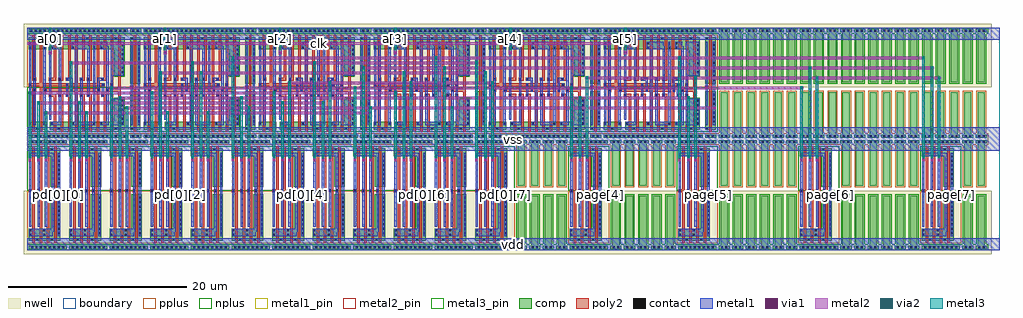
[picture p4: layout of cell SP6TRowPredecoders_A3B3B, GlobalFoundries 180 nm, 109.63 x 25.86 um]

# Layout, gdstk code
import gdstk
lib = gdstk.Library(unit=1e-6, precision=1e-09)
def R(c, l, rs):  # rectangles x0, y0, x1, y1
    for r in rs: c.add(gdstk.rectangle(r[:2], r[2:], *l))
def A(c, l, x, y, w, h, nx, ny, dx, dy):  # array of equal rectangles
    R(c, l, [(x+i*dx, y+j*dy, x+i*dx+w, y+j*dy+h) for i in range(nx) for j in range(ny)])
def P(c, l, *ps):  # polygons
    for p in ps: c.add(gdstk.Polygon(p, *l))
boundary = (0, 0)
nwell = (21, 0)
comp = (22, 0)
poly2 = (30, 0)
pplus = (31, 0)
nplus = (32, 0)
contact = (33, 0)
metal1 = (34, 0)
metal1_pin = (34, 10)
via1 = (35, 0)
metal2 = (36, 0)
metal2_pin = (36, 10)
via2 = (38, 0)
metal3 = (42, 0)
metal3_pin = (42, 10)

dec_dff_x1 = lib.new_cell('Dec_dff_x1')
R(dec_dff_x1, nwell, [(-0.43,5.8,11.83,12.93)])
R(dec_dff_x1, comp, [(0.14,0.14,11.26,0.5), (0.14,1.045,2.1,1.925), (0.14,10.055,2.1,11.455), (0.14,12,11.26,12.36)])
P(dec_dff_x1, comp, [(9.76,6.98),(9.76,10.055),(2.54,10.055),(2.54,11.455),(10.92,11.455),(10.92,6.98)],
  [(2.54,1.045),(2.54,1.925),(9.76,1.925),(9.76,4.62),(10.92,4.62),(10.92,1.045)])
P(dec_dff_x1, poly2, [(8.58,0.825),(8.58,4.72),(8.32,4.72),(8.32,5.08),(8.86,5.08),(8.86,0.825)],
  [(4.58,0.825),(4.58,4.72),(4.3,4.72),(4.3,5.08),(4.86,5.08),(4.86,0.825)],
  [(1.38,0.825),(1.38,5.92),(0.14,5.92),(0.14,6.28),(1.38,6.28),(1.38,11.675),(1.66,11.675),(1.66,6.28),(5.38,6.28),(5.38,11.675),(5.66,11.675),(5.66,6.28),(7.78,6.28),(7.78,11.675),(8.06,11.675),(8.06,6.28),(8.68,6.28),(8.68,5.92),(1.66,5.92),(1.66,0.825)],
  [(0.58,6.52),(0.58,11.675),(0.86,11.675),(0.86,6.88),(0.99,6.88),(0.99,6.52)],
  [(0.58,0.825),(0.58,5.68),(0.99,5.68),(0.99,5.32),(0.86,5.32),(0.86,0.825)],
  [(5.38,0.825),(5.38,5.32),(1.9,5.32),(1.9,5.68),(8.19,5.68),(8.19,5.32),(8.06,5.32),(8.06,0.825),(7.78,0.825),(7.78,5.32),(5.66,5.32),(5.66,0.825)],
  [(8.3,6.52),(8.3,6.88),(8.58,6.88),(8.58,11.675),(8.86,11.675),(8.86,6.52)],
  [(4.3,6.52),(4.3,6.88),(4.58,6.88),(4.58,11.675),(4.86,11.675),(4.86,6.52)],
  [(3.5,6.52),(3.5,6.88),(3.78,6.88),(3.78,11.675),(4.06,11.675),(4.06,6.52)],
  [(3.78,0.825),(3.78,4.72),(3.5,4.72),(3.5,5.08),(4.06,5.08),(4.06,0.825)],
  [(2.39,6.52),(2.39,6.88),(2.98,6.88),(2.98,11.675),(3.26,11.675),(3.26,6.52)],
  [(2.98,0.825),(2.98,4.72),(2.39,4.72),(2.39,5.08),(3.26,5.08),(3.26,0.825)],
  [(6.7,6.52),(6.7,6.88),(6.98,6.88),(6.98,11.675),(7.26,11.675),(7.26,6.52)],
  [(6.98,0.825),(6.98,4.72),(6.7,4.72),(6.7,5.08),(7.26,5.08),(7.26,0.825)],
  [(5.9,6.52),(5.9,6.88),(6.18,6.88),(6.18,11.675),(6.46,11.675),(6.46,6.52)],
  [(6.18,0.825),(6.18,4.72),(5.9,4.72),(5.9,5.08),(6.46,5.08),(6.46,0.825)],
  [(10.2,0.825),(10.2,5.32),(8.81,5.32),(8.81,5.68),(10.2,5.68),(10.2,11.675),(10.48,11.675),(10.48,0.825)],
  [(9.3,5.92),(9.3,6.28),(9.38,6.28),(9.38,11.675),(9.66,11.675),(9.66,5.92)],
  [(9.38,0.825),(9.38,4.72),(9.3,4.72),(9.3,5.08),(9.66,5.08),(9.66,0.825)])
R(dec_dff_x1, pplus, [(-0.02,-0.02,11.42,0.66), (-0.02,5.8,11.42,11.685)])
R(dec_dff_x1, nplus, [(-0.02,0.815,11.42,5.8), (-0.02,11.84,11.42,12.52)])
A(dec_dff_x1, contact, 0.34, 0.21, 0.22, 0.22, 22, 2, 0.5, 11.86)
A(dec_dff_x1, contact, 2.61, 1.63, 0.22, 0.22, 3, 2, 2.4, 8.51)
A(dec_dff_x1, contact, 10.63, 1.675, 0.22, 0.22, 1, 6, 0, 0.5)
A(dec_dff_x1, contact, 10.63, 7.405, 0.22, 0.22, 1, 7, 0, 0.5)
A(dec_dff_x1, contact, 2.61, 10.64, 0.22, 0.22, 3, 1, 2.4, 0)
R(dec_dff_x1, contact, [(1.01,1.115,1.23,1.335), (3.41,1.115,3.63,1.335), (6.61,1.115,6.83,1.335), (9.83,1.115,10.05,1.335), (0.21,1.63,0.43,1.85), (1.81,1.63,2.03,1.85), (8.21,1.63,8.43,1.85), (2.46,4.79,2.68,5.01), (3.57,4.79,3.79,5.01), (4.37,4.79,4.59,5.01), (5.97,4.79,6.19,5.01), (6.77,4.79,6.99,5.01), (8.39,4.79,8.61,5.01), (9.37,4.79,9.59,5.01), (0.7,5.39,0.92,5.61), (1.97,5.39,2.19,5.61), (4.86,5.39,5.08,5.61), (7.9,5.39,8.12,5.61), (8.88,5.39,9.1,5.61), (0.21,5.99,0.43,6.21), (4.37,5.99,4.59,6.21), (8.39,5.99,8.61,6.21), (9.37,5.99,9.59,6.21), (0.7,6.59,0.92,6.81), (2.46,6.59,2.68,6.81), (3.57,6.59,3.79,6.81), (4.37,6.59,4.59,6.81), (5.97,6.59,6.19,6.81), (6.77,6.59,6.99,6.81), (8.37,6.59,8.59,6.81), (0.21,10.14,0.43,10.36), (1.81,10.14,2.03,10.36), (8.21,10.14,8.43,10.36), (0.21,10.64,0.43,10.86), (1.81,10.64,2.03,10.86), (8.21,10.64,8.43,10.86), (1.01,11.165,1.23,11.385), (3.41,11.165,3.63,11.385), (6.61,11.165,6.83,11.385), (9.83,11.165,10.05,11.385)])
R(dec_dff_x1, metal1, [(0,0,11.4,1.34), (0.68,1.57,0.94,10.93), (2.44,2.14,2.7,9.85), (4.35,4.73,4.61,6.27), (8.37,4.73,8.63,6.27), (0,11.16,11.4,12.5)])
P(dec_dff_x1, metal1, [(0.19,1.57),(0.19,10.42),(0.205,10.42),(0.205,10.93),(0.435,10.93),(0.435,10.42),(0.45,10.42),(0.45,1.57)],
  [(7.88,5.33),(7.88,6.87),(8.595,6.87),(8.595,6.53),(8.14,6.53),(8.14,5.33)],
  [(4.84,5.33),(4.84,6.53),(4.365,6.53),(4.365,6.87),(5.1,6.87),(5.1,5.33)],
  [(1.79,1.57),(1.79,10.42),(1.805,10.42),(1.805,10.93),(2.035,10.93),(2.035,10.42),(2.05,10.42),(2.05,5.67),(2.195,5.67),(2.195,5.33),(2.05,5.33),(2.05,1.57)],
  [(2.605,1.57),(2.605,1.91),(3.55,1.91),(3.55,10.08),(2.605,10.08),(2.605,10.93),(3.68,10.93),(3.68,10.42),(3.81,10.42),(3.81,1.57)],
  [(5.005,1.57),(5.005,1.91),(5.33,1.91),(5.33,10.08),(5.005,10.08),(5.005,10.93),(6.88,10.93),(6.88,10.42),(7.01,10.42),(7.01,4.73),(6.75,4.73),(6.75,10.08),(5.59,10.08),(5.59,1.57)],
  [(5.95,1.57),(5.95,6.87),(6.21,6.87),(6.21,1.91),(7.39,1.91),(7.39,10.42),(7.405,10.42),(7.405,10.93),(7.635,10.93),(7.635,10.42),(7.65,10.42),(7.65,1.57)],
  [(8.205,1.57),(8.205,1.91),(8.86,1.91),(8.86,10.08),(8.205,10.08),(8.205,10.93),(8.99,10.93),(8.99,10.42),(9.12,10.42),(9.12,1.57)],
  [(9.35,1.57),(9.35,10.93),(10.855,10.93),(10.855,7.1),(9.61,7.1),(9.61,4.5),(10.855,4.5),(10.855,1.57)])
R(dec_dff_x1, metal1_pin, [(0,0,11.4,1.34), (0.68,1.57,0.94,10.93), (9.35,1.57,9.61,10.93), (2.44,2.14,2.7,9.85), (0,11.16,11.4,12.5)])
dec_dff_x1.add(gdstk.Label('vdd', (5.7,11.83), layer=34, texttype=10))
dec_dff_x1.add(gdstk.Label('vss', (5.7,0.67), layer=34, texttype=10))
dec_dff_x1.add(gdstk.Label('clk', (0.81,6.25), layer=34, texttype=10))
dec_dff_x1.add(gdstk.Label('i', (2.57,5.995), layer=34, texttype=10))
dec_dff_x1.add(gdstk.Label('q', (9.48,6.25), layer=34, texttype=10))

dec_inv_x1 = lib.new_cell('Dec_inv_x1')
R(dec_inv_x1, nwell, [(-0.43,5.8,1.95,12.93)])
R(dec_inv_x1, comp, [(0.14,0.14,1.38,0.5), (0.14,1.045,1.3,5.37), (0.14,6.23,1.3,11.455), (0.14,12,1.38,12.36)])
P(dec_inv_x1, poly2, [(0.58,0.825),(0.58,5.62),(0.14,5.62),(0.14,5.98),(0.58,5.98),(0.58,11.675),(0.86,11.675),(0.86,0.825)])
R(dec_inv_x1, pplus, [(-0.02,-0.02,1.54,0.66), (-0.02,5.8,1.54,11.685)])
R(dec_inv_x1, nplus, [(-0.02,0.815,1.54,5.8), (-0.02,11.84,1.54,12.52)])
A(dec_inv_x1, contact, 1.01, 1.855, 0.22, 0.22, 1, 7, 0, 0.5)
A(dec_inv_x1, contact, 1.01, 6.475, 0.22, 0.22, 1, 9, 0, 0.5)
R(dec_inv_x1, contact, [(0.4,0.21,0.62,0.43), (0.9,0.21,1.12,0.43), (0.21,1.115,0.43,1.335), (0.21,5.69,0.43,5.91), (0.21,11.165,0.43,11.385), (0.4,12.07,0.62,12.29), (0.9,12.07,1.12,12.29)])
R(dec_inv_x1, metal1, [(0,0,1.52,1.34), (0.19,1.57,0.45,10.93), (0.99,1.57,1.25,10.93), (0,11.16,1.52,12.5)])
R(dec_inv_x1, metal1_pin, [(0,0,1.52,1.34), (0.19,1.57,0.45,10.93), (0.99,1.57,1.25,10.93), (0,11.16,1.52,12.5)])
dec_inv_x1.add(gdstk.Label('vss', (0.76,0.67), layer=34, texttype=10))
dec_inv_x1.add(gdstk.Label('vdd', (0.76,11.83), layer=34, texttype=10))
dec_inv_x1.add(gdstk.Label('nq', (1.12,6.25), layer=34, texttype=10))
dec_inv_x1.add(gdstk.Label('i', (0.32,6.25), layer=34, texttype=10))

dec_tie_diff_w2 = lib.new_cell('Dec_tie_diff_w2')
R(dec_tie_diff_w2, nwell, [(-0.43,5.8,1.95,12.93)])
P(dec_tie_diff_w2, comp, [(0.36,6.36),(0.36,12),(0.14,12),(0.14,12.36),(1.38,12.36),(1.38,12),(1.16,12),(1.16,6.36)],
  [(0.14,0.14),(0.14,0.5),(0.36,0.5),(0.36,5.24),(1.16,5.24),(1.16,0.5),(1.38,0.5),(1.38,0.14)])
P(dec_tie_diff_w2, pplus, [(-0.02,-0.02),(-0.02,0.66),(0.2,0.66),(0.2,5.4),(1.32,5.4),(1.32,0.66),(1.54,0.66),(1.54,-0.02)])
P(dec_tie_diff_w2, nplus, [(0.2,6.2),(0.2,11.84),(-0.02,11.84),(-0.02,12.52),(1.54,12.52),(1.54,11.84),(1.32,11.84),(1.32,6.2)])
R(dec_tie_diff_w2, contact, [(0.4,0.21,0.62,0.43), (0.9,0.21,1.12,0.43), (0.4,12.07,0.62,12.29), (0.9,12.07,1.12,12.29)])
R(dec_tie_diff_w2, metal1, [(0,0,1.52,1.34), (0,11.16,1.52,12.5)])
R(dec_tie_diff_w2, metal1_pin, [(0,0,1.52,1.34), (0,11.16,1.52,12.5)])
dec_tie_diff_w2.add(gdstk.Label('vdd', (0.76,11.83), layer=34, texttype=10))
dec_tie_diff_w2.add(gdstk.Label('vss', (0.76,0.67), layer=34, texttype=10))

dec_and3_x1 = lib.new_cell('Dec_and3_x1')
R(dec_and3_x1, nwell, [(-0.43,5.8,4.99,12.93)])
R(dec_and3_x1, comp, [(0.14,0.14,4.42,0.5), (0.14,12,4.42,12.36)])
P(dec_and3_x1, comp, [(2.56,6.23),(2.56,10.055),(0.14,10.055),(0.14,11.455),(3.72,11.455),(3.72,6.23)],
  [(0.14,1.045),(0.14,1.925),(2.56,1.925),(2.56,5.37),(3.72,5.37),(3.72,1.045)])
P(dec_and3_x1, poly2, [(3,0.825),(3,5.62),(2.7,5.62),(2.7,5.98),(3,5.98),(3,11.675),(3.28,11.675),(3.28,0.825)],
  [(0.58,0.825),(0.58,5.62),(0.14,5.62),(0.14,5.98),(0.58,5.98),(0.58,11.675),(0.86,11.675),(0.86,0.825)],
  [(1.38,0.825),(1.38,5.62),(1.1,5.62),(1.1,5.98),(1.38,5.98),(1.38,11.675),(1.66,11.675),(1.66,0.825)],
  [(2.18,0.825),(2.18,5.62),(1.9,5.62),(1.9,5.98),(2.18,5.98),(2.18,11.675),(2.46,11.675),(2.46,0.825)])
R(dec_and3_x1, pplus, [(-0.02,-0.02,4.58,0.66), (-0.02,5.8,4.58,11.685)])
R(dec_and3_x1, nplus, [(-0.02,0.815,4.58,5.8), (-0.02,11.84,4.58,12.52)])
A(dec_and3_x1, contact, 0.42, 0.21, 0.22, 0.22, 8, 2, 0.5, 11.86)
A(dec_and3_x1, contact, 3.43, 1.855, 0.22, 0.22, 1, 7, 0, 0.5)
A(dec_and3_x1, contact, 1.17, 5.69, 0.22, 0.22, 3, 1, 0.8, 0)
A(dec_and3_x1, contact, 3.43, 6.475, 0.22, 0.22, 1, 9, 0, 0.5)
R(dec_and3_x1, contact, [(2.63,1.115,2.85,1.335), (0.21,1.63,0.43,1.85), (0.21,5.69,0.43,5.91), (0.21,10.14,0.43,10.36), (1.81,10.14,2.03,10.36), (0.21,10.64,0.43,10.86), (1.81,10.64,2.03,10.86), (1.01,11.165,1.23,11.385), (2.63,11.165,2.85,11.385)])
R(dec_and3_x1, metal1, [(0,0,4.56,1.34), (3.41,1.57,3.67,10.93), (0.19,2.14,0.45,9.85), (1.15,2.14,1.41,9.85), (1.95,2.14,2.21,9.85), (0,11.16,4.56,12.5)])
P(dec_and3_x1, metal1, [(0.205,1.57),(0.205,1.91),(2.75,1.91),(2.75,10.08),(0.205,10.08),(0.205,10.93),(2.88,10.93),(2.88,10.42),(3.01,10.42),(3.01,1.57)])
R(dec_and3_x1, metal1_pin, [(0,0,4.56,1.34), (3.41,1.57,3.67,10.93), (0.19,2.14,0.45,9.85), (1.15,2.14,1.41,9.85), (1.95,2.14,2.21,9.85), (0,11.16,4.56,12.5)])
dec_and3_x1.add(gdstk.Label('vdd', (2.28,11.83), layer=34, texttype=10))
dec_and3_x1.add(gdstk.Label('vss', (2.28,0.67), layer=34, texttype=10))
dec_and3_x1.add(gdstk.Label('i0', (0.32,5.995), layer=34, texttype=10))
dec_and3_x1.add(gdstk.Label('i1', (1.28,5.995), layer=34, texttype=10))
dec_and3_x1.add(gdstk.Label('i2', (2.08,5.995), layer=34, texttype=10))
dec_and3_x1.add(gdstk.Label('q', (3.54,6.25), layer=34, texttype=10))

sp6trowpredecoders_a3b3b = lib.new_cell('SP6TRowPredecoders_A3B3B')
R(sp6trowpredecoders_a3b3b, boundary, [(0,0,109.2,25)])
A(sp6trowpredecoders_a3b3b, metal1, 3.41, 1.57, 0.26, 9.36, 12, 1, 4.56, 0)
A(sp6trowpredecoders_a3b3b, metal1, 76.37, 1.57, 0.26, 9.36, 3, 1, 13.68, 0)
A(sp6trowpredecoders_a3b3b, metal1, 2.44, 21.97, 0.26, 0.38, 6, 1, 12.92, 0)
A(sp6trowpredecoders_a3b3b, metal1, 0.68, 23.05, 0.26, 0.38, 6, 1, 12.92, 0)
R(sp6trowpredecoders_a3b3b, metal1, [(0,0,109.2,1.34), (64.21,1.57,64.47,10.93), (0.19,9.98,0.45,10.36), (1.15,9.98,1.41,10.36), (1.95,9.98,2.21,10.36), (4.75,9.98,5.01,10.36), (5.71,9.98,5.97,10.36), (6.51,9.98,6.77,10.36), (9.31,9.98,9.57,10.36), (10.27,9.98,10.53,10.36), (11.07,9.98,11.33,10.36), (13.87,9.98,14.13,10.36), (14.83,9.98,15.09,10.36), (15.63,9.98,15.89,10.36), (18.43,9.98,18.69,10.36), (19.39,9.98,19.65,10.36), (20.19,9.98,20.45,10.36), (22.99,9.98,23.25,10.36), (23.95,9.98,24.21,10.36), (24.75,9.98,25.01,10.36), (27.55,9.98,27.81,10.36), (28.51,9.98,28.77,10.36), (29.31,9.98,29.57,10.36), (32.11,9.98,32.37,10.36), (33.07,9.98,33.33,10.36), (33.87,9.98,34.13,10.36), (36.67,9.98,36.93,10.36), (37.63,9.98,37.89,10.36), (38.43,9.98,38.69,10.36), (41.23,9.98,41.49,10.36), (42.19,9.98,42.45,10.36), (42.99,9.98,43.25,10.36), (45.79,9.98,46.05,10.36), (46.75,9.98,47.01,10.36), (47.55,9.98,47.81,10.36), (50.35,9.98,50.61,10.36), (51.31,9.98,51.57,10.36), (52.11,9.98,52.37,10.36), (60.99,9.98,61.25,10.36), (61.95,9.98,62.21,10.36), (62.75,9.98,63.01,10.36), (73.15,9.98,73.41,10.36), (74.11,9.98,74.37,10.36), (74.91,9.98,75.17,10.36), (86.83,9.98,87.09,10.36), (87.79,9.98,88.05,10.36), (88.59,9.98,88.85,10.36), (100.51,9.98,100.77,10.36), (101.47,9.98,101.73,10.36), (102.27,9.98,102.53,10.36), (0,11.16,109.2,13.84), (38.23,15.25,38.49,15.63), (76.99,15.81,77.25,16.19), (25.31,16.37,25.57,16.75), (64.07,16.93,64.33,17.31), (12.39,17.49,12.65,17.87), (51.15,18.05,51.41,18.43), (35.19,18.61,35.45,18.99), (37.43,18.61,37.69,18.99), (73.95,19.17,74.21,19.55), (76.19,19.17,76.45,19.55), (22.27,19.73,22.53,20.11), (24.51,19.73,24.77,20.11), (61.03,20.29,61.29,20.67), (63.27,20.29,63.53,20.67), (9.35,20.85,9.61,21.23), (11.59,20.85,11.85,21.23), (48.11,21.41,48.37,21.79), (50.35,21.41,50.61,21.79), (0,23.66,109.2,25)])
A(sp6trowpredecoders_a3b3b, metal1_pin, 3.41, 1.57, 0.26, 9.36, 12, 1, 4.56, 0)
A(sp6trowpredecoders_a3b3b, metal1_pin, 76.37, 1.57, 0.26, 9.36, 3, 1, 13.68, 0)
R(sp6trowpredecoders_a3b3b, metal1_pin, [(0,0,109.2,1.34), (64.21,1.57,64.47,10.93), (0,11.16,109.2,13.84), (0,23.66,109.2,25)])
A(sp6trowpredecoders_a3b3b, via1, 2.44, 22.03, 0.26, 0.26, 6, 1, 12.92, 0)
A(sp6trowpredecoders_a3b3b, via1, 0.68, 23.11, 0.26, 0.26, 6, 1, 12.92, 0)
R(sp6trowpredecoders_a3b3b, via1, [(0.19,10.04,0.45,10.3), (1.15,10.04,1.41,10.3), (1.95,10.04,2.21,10.3), (4.75,10.04,5.01,10.3), (5.71,10.04,5.97,10.3), (6.51,10.04,6.77,10.3), (9.31,10.04,9.57,10.3), (10.27,10.04,10.53,10.3), (11.07,10.04,11.33,10.3), (13.87,10.04,14.13,10.3), (14.83,10.04,15.09,10.3), (15.63,10.04,15.89,10.3), (18.43,10.04,18.69,10.3), (19.39,10.04,19.65,10.3), (20.19,10.04,20.45,10.3), (22.99,10.04,23.25,10.3), (23.95,10.04,24.21,10.3), (24.75,10.04,25.01,10.3), (27.55,10.04,27.81,10.3), (28.51,10.04,28.77,10.3), (29.31,10.04,29.57,10.3), (32.11,10.04,32.37,10.3), (33.07,10.04,33.33,10.3), (33.87,10.04,34.13,10.3), (36.67,10.04,36.93,10.3), (37.63,10.04,37.89,10.3), (38.43,10.04,38.69,10.3), (41.23,10.04,41.49,10.3), (42.19,10.04,42.45,10.3), (42.99,10.04,43.25,10.3), (45.79,10.04,46.05,10.3), (46.75,10.04,47.01,10.3), (47.55,10.04,47.81,10.3), (50.35,10.04,50.61,10.3), (51.31,10.04,51.57,10.3), (52.11,10.04,52.37,10.3), (60.99,10.04,61.25,10.3), (61.95,10.04,62.21,10.3), (62.75,10.04,63.01,10.3), (73.15,10.04,73.41,10.3), (74.11,10.04,74.37,10.3), (74.91,10.04,75.17,10.3), (86.83,10.04,87.09,10.3), (87.79,10.04,88.05,10.3), (88.59,10.04,88.85,10.3), (100.51,10.04,100.77,10.3), (101.47,10.04,101.73,10.3), (102.27,10.04,102.53,10.3), (38.23,15.31,38.49,15.57), (76.99,15.87,77.25,16.13), (25.31,16.43,25.57,16.69), (64.07,16.99,64.33,17.25), (12.39,17.55,12.65,17.81), (51.15,18.11,51.41,18.37), (35.19,18.67,35.45,18.93), (37.43,18.67,37.69,18.93), (73.95,19.23,74.21,19.49), (76.19,19.23,76.45,19.49), (22.27,19.79,22.53,20.05), (24.51,19.79,24.77,20.05), (61.03,20.35,61.29,20.61), (63.27,20.35,63.53,20.61), (9.35,20.91,9.61,21.17), (11.59,20.91,11.85,21.17), (48.11,21.47,48.37,21.73), (50.35,21.47,50.61,21.73)])
A(sp6trowpredecoders_a3b3b, metal2, 2.38, 22.02, 0.38, 0.8, 6, 1, 12.92, 0)
R(sp6trowpredecoders_a3b3b, metal2, [(0.18,9.98,0.46,10.74), (1.14,9.98,1.42,10.74), (1.94,9.98,2.22,10.74), (4.74,9.98,5.02,10.74), (5.7,9.98,5.98,10.74), (6.5,9.98,6.78,10.74), (9.3,9.98,9.58,10.74), (10.26,9.98,10.54,10.74), (11.06,9.98,11.34,10.74), (13.86,9.98,14.14,10.74), (14.82,9.98,15.1,10.74), (15.62,9.98,15.9,10.74), (18.42,9.98,18.7,10.74), (19.38,9.98,19.66,10.74), (20.18,9.98,20.46,10.74), (22.98,9.98,23.26,10.74), (23.94,9.98,24.22,10.74), (24.74,9.98,25.02,10.74), (27.54,9.98,27.82,10.74), (28.5,9.98,28.78,10.74), (29.3,9.98,29.58,10.74), (32.1,9.98,32.38,10.74), (33.06,9.98,33.34,10.74), (33.86,9.98,34.14,10.74), (36.66,9.98,36.94,10.74), (37.62,9.98,37.9,10.74), (38.42,9.98,38.7,10.74), (41.22,9.98,41.5,10.74), (42.18,9.98,42.46,10.74), (42.98,9.98,43.26,10.74), (45.78,9.98,46.06,10.74), (46.74,9.98,47.02,10.74), (47.54,9.98,47.82,10.74), (50.34,9.98,50.62,10.74), (51.3,9.98,51.58,10.74), (52.1,9.98,52.38,10.74), (60.98,9.98,61.26,10.74), (61.94,9.98,62.22,10.74), (62.74,9.98,63.02,10.74), (73.14,9.98,73.42,10.74), (74.1,9.98,74.38,10.74), (74.9,9.98,75.18,10.74), (86.82,9.98,87.1,10.74), (87.78,9.98,88.06,10.74), (88.58,9.98,88.86,10.74), (100.5,9.98,100.78,10.74), (101.46,9.98,101.74,10.74), (102.26,9.98,102.54,10.74), (1.89,15.3,38.55,15.58), (11.01,15.86,77.31,16.14), (1.09,16.42,33.39,16.7), (10.21,16.98,74.43,17.26), (0.13,17.54,41.55,17.82), (9.25,18.1,87.15,18.38), (29.25,18.66,52.43,18.94), (62.69,19.22,102.59,19.5), (14.77,19.78,51.63,20.06), (37.57,20.34,101.79,20.62), (4.69,20.9,50.67,21.18), (22.93,21.46,100.83,21.74), (0,23.1,65.6,23.38)])
R(sp6trowpredecoders_a3b3b, metal2_pin, [(0,23.1,65.6,23.38)])
A(sp6trowpredecoders_a3b3b, via2, 11.07, 15.87, 0.26, 0.26, 3, 1, 13.68, 0)
A(sp6trowpredecoders_a3b3b, via2, 0.19, 17.55, 0.26, 0.26, 4, 1, 13.68, 0)
A(sp6trowpredecoders_a3b3b, via2, 33.87, 18.67, 0.26, 0.26, 3, 1, 9.12, 0)
A(sp6trowpredecoders_a3b3b, via2, 74.91, 19.23, 0.26, 0.26, 3, 1, 13.68, 0)
A(sp6trowpredecoders_a3b3b, via2, 4.75, 20.91, 0.26, 0.26, 3, 1, 13.68, 0)
A(sp6trowpredecoders_a3b3b, via2, 45.79, 21.47, 0.26, 0.26, 3, 1, 27.36, 0)
A(sp6trowpredecoders_a3b3b, via2, 2.44, 22.55, 0.26, 0.26, 6, 1, 12.92, 0)
R(sp6trowpredecoders_a3b3b, via2, [(0.19,10.42,0.45,10.68), (1.15,10.42,1.41,10.68), (1.95,10.42,2.21,10.68), (4.75,10.42,5.01,10.68), (5.71,10.42,5.97,10.68), (6.51,10.42,6.77,10.68), (9.31,10.42,9.57,10.68), (10.27,10.42,10.53,10.68), (11.07,10.42,11.33,10.68), (13.87,10.42,14.13,10.68), (14.83,10.42,15.09,10.68), (15.63,10.42,15.89,10.68), (18.43,10.42,18.69,10.68), (19.39,10.42,19.65,10.68), (20.19,10.42,20.45,10.68), (22.99,10.42,23.25,10.68), (23.95,10.42,24.21,10.68), (24.75,10.42,25.01,10.68), (27.55,10.42,27.81,10.68), (28.51,10.42,28.77,10.68), (29.31,10.42,29.57,10.68), (32.11,10.42,32.37,10.68), (33.07,10.42,33.33,10.68), (33.87,10.42,34.13,10.68), (36.67,10.42,36.93,10.68), (37.63,10.42,37.89,10.68), (38.43,10.42,38.69,10.68), (41.23,10.42,41.49,10.68), (42.19,10.42,42.45,10.68), (42.99,10.42,43.25,10.68), (45.79,10.42,46.05,10.68), (46.75,10.42,47.01,10.68), (47.55,10.42,47.81,10.68), (50.35,10.42,50.61,10.68), (51.31,10.42,51.57,10.68), (52.11,10.42,52.37,10.68), (60.99,10.42,61.25,10.68), (61.95,10.42,62.21,10.68), (62.75,10.42,63.01,10.68), (73.15,10.42,73.41,10.68), (74.11,10.42,74.37,10.68), (74.91,10.42,75.17,10.68), (86.83,10.42,87.09,10.68), (87.79,10.42,88.05,10.68), (88.59,10.42,88.85,10.68), (100.51,10.42,100.77,10.68), (101.47,10.42,101.73,10.68), (102.27,10.42,102.53,10.68), (1.95,15.31,2.21,15.57), (6.51,15.31,6.77,15.57), (15.63,15.31,15.89,15.57), (20.19,15.31,20.45,15.57), (47.55,15.87,47.81,16.13), (1.15,16.43,1.41,16.69), (5.71,16.43,5.97,16.69), (28.51,16.43,28.77,16.69), (33.07,16.43,33.33,16.69), (10.27,16.99,10.53,17.25), (23.95,16.99,24.21,17.25), (61.95,16.99,62.21,17.25), (74.11,16.99,74.37,17.25), (9.31,18.11,9.57,18.37), (36.67,18.11,36.93,18.37), (60.99,18.11,61.25,18.37), (86.83,18.11,87.09,18.37), (29.31,18.67,29.57,18.93), (62.75,19.23,63.01,19.49), (14.83,19.79,15.09,20.05), (19.39,19.79,19.65,20.05), (42.19,19.79,42.45,20.05), (51.31,19.79,51.57,20.05), (37.63,20.35,37.89,20.61), (46.75,20.35,47.01,20.61), (87.79,20.35,88.05,20.61), (101.47,20.35,101.73,20.61), (50.35,20.91,50.61,21.17), (22.99,21.47,23.25,21.73)])
A(sp6trowpredecoders_a3b3b, metal3, 0.18, 10.36, 0.28, 7.51, 4, 1, 13.68, 0)
A(sp6trowpredecoders_a3b3b, metal3, 4.74, 10.36, 0.28, 10.87, 3, 1, 13.68, 0)
A(sp6trowpredecoders_a3b3b, metal3, 11.06, 10.36, 0.28, 5.83, 3, 1, 13.68, 0)
A(sp6trowpredecoders_a3b3b, metal3, 33.86, 10.36, 0.28, 8.63, 3, 1, 9.12, 0)
A(sp6trowpredecoders_a3b3b, metal3, 45.78, 10.36, 0.28, 11.43, 3, 1, 27.36, 0)
A(sp6trowpredecoders_a3b3b, metal3, 74.9, 10.36, 0.28, 9.19, 3, 1, 13.68, 0)
A(sp6trowpredecoders_a3b3b, metal3, 2.43, 22.49, 0.28, 2.51, 6, 1, 12.92, 0)
R(sp6trowpredecoders_a3b3b, metal3, [(1.14,10.36,1.42,16.75), (1.94,10.36,2.22,15.63), (5.7,10.36,5.98,16.75), (6.5,10.36,6.78,15.63), (9.3,10.36,9.58,18.43), (10.26,10.36,10.54,17.31), (14.82,10.36,15.1,20.11), (15.62,10.36,15.9,15.63), (19.38,10.36,19.66,20.11), (20.18,10.36,20.46,15.63), (22.98,10.36,23.26,21.79), (23.94,10.36,24.22,17.31), (28.5,10.36,28.78,16.75), (29.3,10.36,29.58,18.99), (33.06,10.36,33.34,16.75), (36.66,10.36,36.94,18.43), (37.62,10.36,37.9,20.67), (42.18,10.36,42.46,20.11), (46.74,10.36,47.02,20.67), (47.54,10.36,47.82,16.19), (50.34,10.36,50.62,21.23), (51.3,10.36,51.58,20.11), (60.98,10.36,61.26,18.43), (61.94,10.36,62.22,17.31), (62.74,10.36,63.02,19.55), (74.1,10.36,74.38,17.31), (86.82,10.36,87.1,18.43), (87.78,10.36,88.06,20.67), (101.46,10.36,101.74,20.67)])
A(sp6trowpredecoders_a3b3b, metal3_pin, 2.43, 22.49, 0.28, 2.51, 6, 1, 12.92, 0)
sp6trowpredecoders_a3b3b.add(gdstk.Reference(dec_dff_x1, (0,12.5)))
sp6trowpredecoders_a3b3b.add(gdstk.Reference(dec_inv_x1, (11.4,12.5)))
sp6trowpredecoders_a3b3b.add(gdstk.Reference(dec_dff_x1, (12.92,12.5)))
sp6trowpredecoders_a3b3b.add(gdstk.Reference(dec_inv_x1, (24.32,12.5)))
sp6trowpredecoders_a3b3b.add(gdstk.Reference(dec_dff_x1, (25.84,12.5)))
sp6trowpredecoders_a3b3b.add(gdstk.Reference(dec_inv_x1, (37.24,12.5)))
sp6trowpredecoders_a3b3b.add(gdstk.Reference(dec_dff_x1, (38.76,12.5)))
sp6trowpredecoders_a3b3b.add(gdstk.Reference(dec_inv_x1, (50.16,12.5)))
sp6trowpredecoders_a3b3b.add(gdstk.Reference(dec_dff_x1, (51.68,12.5)))
sp6trowpredecoders_a3b3b.add(gdstk.Reference(dec_inv_x1, (63.08,12.5)))
sp6trowpredecoders_a3b3b.add(gdstk.Reference(dec_dff_x1, (64.6,12.5)))
sp6trowpredecoders_a3b3b.add(gdstk.Reference(dec_inv_x1, (76,12.5)))
sp6trowpredecoders_a3b3b.add(gdstk.Reference(dec_tie_diff_w2, (77.52,12.5)))
sp6trowpredecoders_a3b3b.add(gdstk.Reference(dec_tie_diff_w2, (79.04,12.5)))
sp6trowpredecoders_a3b3b.add(gdstk.Reference(dec_tie_diff_w2, (80.56,12.5)))
sp6trowpredecoders_a3b3b.add(gdstk.Reference(dec_tie_diff_w2, (82.08,12.5)))
sp6trowpredecoders_a3b3b.add(gdstk.Reference(dec_tie_diff_w2, (83.6,12.5)))
sp6trowpredecoders_a3b3b.add(gdstk.Reference(dec_tie_diff_w2, (85.12,12.5)))
sp6trowpredecoders_a3b3b.add(gdstk.Reference(dec_tie_diff_w2, (86.64,12.5)))
sp6trowpredecoders_a3b3b.add(gdstk.Reference(dec_tie_diff_w2, (88.16,12.5)))
sp6trowpredecoders_a3b3b.add(gdstk.Reference(dec_tie_diff_w2, (89.68,12.5)))
sp6trowpredecoders_a3b3b.add(gdstk.Reference(dec_tie_diff_w2, (91.2,12.5)))
sp6trowpredecoders_a3b3b.add(gdstk.Reference(dec_tie_diff_w2, (92.72,12.5)))
sp6trowpredecoders_a3b3b.add(gdstk.Reference(dec_tie_diff_w2, (94.24,12.5)))
sp6trowpredecoders_a3b3b.add(gdstk.Reference(dec_tie_diff_w2, (95.76,12.5)))
sp6trowpredecoders_a3b3b.add(gdstk.Reference(dec_tie_diff_w2, (97.28,12.5)))
sp6trowpredecoders_a3b3b.add(gdstk.Reference(dec_tie_diff_w2, (98.8,12.5)))
sp6trowpredecoders_a3b3b.add(gdstk.Reference(dec_tie_diff_w2, (100.32,12.5)))
sp6trowpredecoders_a3b3b.add(gdstk.Reference(dec_tie_diff_w2, (101.84,12.5)))
sp6trowpredecoders_a3b3b.add(gdstk.Reference(dec_tie_diff_w2, (103.36,12.5)))
sp6trowpredecoders_a3b3b.add(gdstk.Reference(dec_tie_diff_w2, (104.88,12.5)))
sp6trowpredecoders_a3b3b.add(gdstk.Reference(dec_tie_diff_w2, (106.4,12.5)))
sp6trowpredecoders_a3b3b.add(gdstk.Reference(dec_and3_x1, (0,12.5), x_reflection=True))
sp6trowpredecoders_a3b3b.add(gdstk.Reference(dec_and3_x1, (4.56,12.5), x_reflection=True))
sp6trowpredecoders_a3b3b.add(gdstk.Reference(dec_and3_x1, (9.12,12.5), x_reflection=True))
sp6trowpredecoders_a3b3b.add(gdstk.Reference(dec_and3_x1, (13.68,12.5), x_reflection=True))
sp6trowpredecoders_a3b3b.add(gdstk.Reference(dec_and3_x1, (18.24,12.5), x_reflection=True))
sp6trowpredecoders_a3b3b.add(gdstk.Reference(dec_and3_x1, (22.8,12.5), x_reflection=True))
sp6trowpredecoders_a3b3b.add(gdstk.Reference(dec_and3_x1, (27.36,12.5), x_reflection=True))
sp6trowpredecoders_a3b3b.add(gdstk.Reference(dec_and3_x1, (31.92,12.5), x_reflection=True))
sp6trowpredecoders_a3b3b.add(gdstk.Reference(dec_and3_x1, (36.48,12.5), x_reflection=True))
sp6trowpredecoders_a3b3b.add(gdstk.Reference(dec_and3_x1, (41.04,12.5), x_reflection=True))
sp6trowpredecoders_a3b3b.add(gdstk.Reference(dec_and3_x1, (45.6,12.5), x_reflection=True))
sp6trowpredecoders_a3b3b.add(gdstk.Reference(dec_and3_x1, (50.16,12.5), x_reflection=True))
sp6trowpredecoders_a3b3b.add(gdstk.Reference(dec_tie_diff_w2, (54.72,12.5), x_reflection=True))
sp6trowpredecoders_a3b3b.add(gdstk.Reference(dec_tie_diff_w2, (56.24,12.5), x_reflection=True))
sp6trowpredecoders_a3b3b.add(gdstk.Reference(dec_tie_diff_w2, (57.76,12.5), x_reflection=True))
sp6trowpredecoders_a3b3b.add(gdstk.Reference(dec_tie_diff_w2, (59.28,12.5), x_reflection=True))
sp6trowpredecoders_a3b3b.add(gdstk.Reference(dec_and3_x1, (60.8,12.5), x_reflection=True))
sp6trowpredecoders_a3b3b.add(gdstk.Reference(dec_tie_diff_w2, (65.36,12.5), x_reflection=True))
sp6trowpredecoders_a3b3b.add(gdstk.Reference(dec_tie_diff_w2, (66.88,12.5), x_reflection=True))
sp6trowpredecoders_a3b3b.add(gdstk.Reference(dec_tie_diff_w2, (68.4,12.5), x_reflection=True))
sp6trowpredecoders_a3b3b.add(gdstk.Reference(dec_tie_diff_w2, (69.92,12.5), x_reflection=True))
sp6trowpredecoders_a3b3b.add(gdstk.Reference(dec_tie_diff_w2, (71.44,12.5), x_reflection=True))
sp6trowpredecoders_a3b3b.add(gdstk.Reference(dec_and3_x1, (72.96,12.5), x_reflection=True))
sp6trowpredecoders_a3b3b.add(gdstk.Reference(dec_tie_diff_w2, (77.52,12.5), x_reflection=True))
sp6trowpredecoders_a3b3b.add(gdstk.Reference(dec_tie_diff_w2, (79.04,12.5), x_reflection=True))
sp6trowpredecoders_a3b3b.add(gdstk.Reference(dec_tie_diff_w2, (80.56,12.5), x_reflection=True))
sp6trowpredecoders_a3b3b.add(gdstk.Reference(dec_tie_diff_w2, (82.08,12.5), x_reflection=True))
sp6trowpredecoders_a3b3b.add(gdstk.Reference(dec_tie_diff_w2, (83.6,12.5), x_reflection=True))
sp6trowpredecoders_a3b3b.add(gdstk.Reference(dec_tie_diff_w2, (85.12,12.5), x_reflection=True))
sp6trowpredecoders_a3b3b.add(gdstk.Reference(dec_and3_x1, (86.64,12.5), x_reflection=True))
sp6trowpredecoders_a3b3b.add(gdstk.Reference(dec_tie_diff_w2, (91.2,12.5), x_reflection=True))
sp6trowpredecoders_a3b3b.add(gdstk.Reference(dec_tie_diff_w2, (92.72,12.5), x_reflection=True))
sp6trowpredecoders_a3b3b.add(gdstk.Reference(dec_tie_diff_w2, (94.24,12.5), x_reflection=True))
sp6trowpredecoders_a3b3b.add(gdstk.Reference(dec_tie_diff_w2, (95.76,12.5), x_reflection=True))
sp6trowpredecoders_a3b3b.add(gdstk.Reference(dec_tie_diff_w2, (97.28,12.5), x_reflection=True))
sp6trowpredecoders_a3b3b.add(gdstk.Reference(dec_tie_diff_w2, (98.8,12.5), x_reflection=True))
sp6trowpredecoders_a3b3b.add(gdstk.Reference(dec_and3_x1, (100.32,12.5), x_reflection=True))
sp6trowpredecoders_a3b3b.add(gdstk.Reference(dec_tie_diff_w2, (104.88,12.5), x_reflection=True))
sp6trowpredecoders_a3b3b.add(gdstk.Reference(dec_tie_diff_w2, (106.4,12.5), x_reflection=True))
sp6trowpredecoders_a3b3b.add(gdstk.Label('a[0]', (2.57,23.745), layer=42, texttype=10))
sp6trowpredecoders_a3b3b.add(gdstk.Label('a[1]', (15.49,23.745), layer=42, texttype=10))
sp6trowpredecoders_a3b3b.add(gdstk.Label('a[2]', (28.41,23.745), layer=42, texttype=10))
sp6trowpredecoders_a3b3b.add(gdstk.Label('a[3]', (41.33,23.745), layer=42, texttype=10))
sp6trowpredecoders_a3b3b.add(gdstk.Label('a[4]', (54.25,23.745), layer=42, texttype=10))
sp6trowpredecoders_a3b3b.add(gdstk.Label('a[5]', (67.17,23.745), layer=42, texttype=10))
sp6trowpredecoders_a3b3b.add(gdstk.Label('clk', (32.8,23.24), layer=36, texttype=10))
sp6trowpredecoders_a3b3b.add(gdstk.Label('vss', (54.6,12.5), layer=34, texttype=10))
sp6trowpredecoders_a3b3b.add(gdstk.Label('vdd', (54.6,24.33), layer=34, texttype=10))
sp6trowpredecoders_a3b3b.add(gdstk.Label('vdd', (54.6,0.67), layer=34, texttype=10))
sp6trowpredecoders_a3b3b.add(gdstk.Label('pd[0][0]', (3.54,6.25), layer=34, texttype=10))
sp6trowpredecoders_a3b3b.add(gdstk.Label('pd[0][1]', (8.1,6.25), layer=34, texttype=10))
sp6trowpredecoders_a3b3b.add(gdstk.Label('pd[0][2]', (17.22,6.25), layer=34, texttype=10))
sp6trowpredecoders_a3b3b.add(gdstk.Label('pd[0][3]', (21.78,6.25), layer=34, texttype=10))
sp6trowpredecoders_a3b3b.add(gdstk.Label('pd[0][4]', (30.9,6.25), layer=34, texttype=10))
sp6trowpredecoders_a3b3b.add(gdstk.Label('pd[0][5]', (35.46,6.25), layer=34, texttype=10))
sp6trowpredecoders_a3b3b.add(gdstk.Label('pd[0][6]', (44.58,6.25), layer=34, texttype=10))
sp6trowpredecoders_a3b3b.add(gdstk.Label('pd[0][7]', (53.7,6.25), layer=34, texttype=10))
sp6trowpredecoders_a3b3b.add(gdstk.Label('page[0]', (12.66,6.25), layer=34, texttype=10))
sp6trowpredecoders_a3b3b.add(gdstk.Label('page[1]', (26.34,6.25), layer=34, texttype=10))
sp6trowpredecoders_a3b3b.add(gdstk.Label('page[2]', (40.02,6.25), layer=34, texttype=10))
sp6trowpredecoders_a3b3b.add(gdstk.Label('page[3]', (49.14,6.25), layer=34, texttype=10))
sp6trowpredecoders_a3b3b.add(gdstk.Label('page[4]', (64.34,6.25), layer=34, texttype=10))
sp6trowpredecoders_a3b3b.add(gdstk.Label('page[5]', (76.5,6.25), layer=34, texttype=10))
sp6trowpredecoders_a3b3b.add(gdstk.Label('page[6]', (90.18,6.25), layer=34, texttype=10))
sp6trowpredecoders_a3b3b.add(gdstk.Label('page[7]', (103.86,6.25), layer=34, texttype=10))

lib.write_gds('SP6TRowPredecoders_A3B3B.gds')
